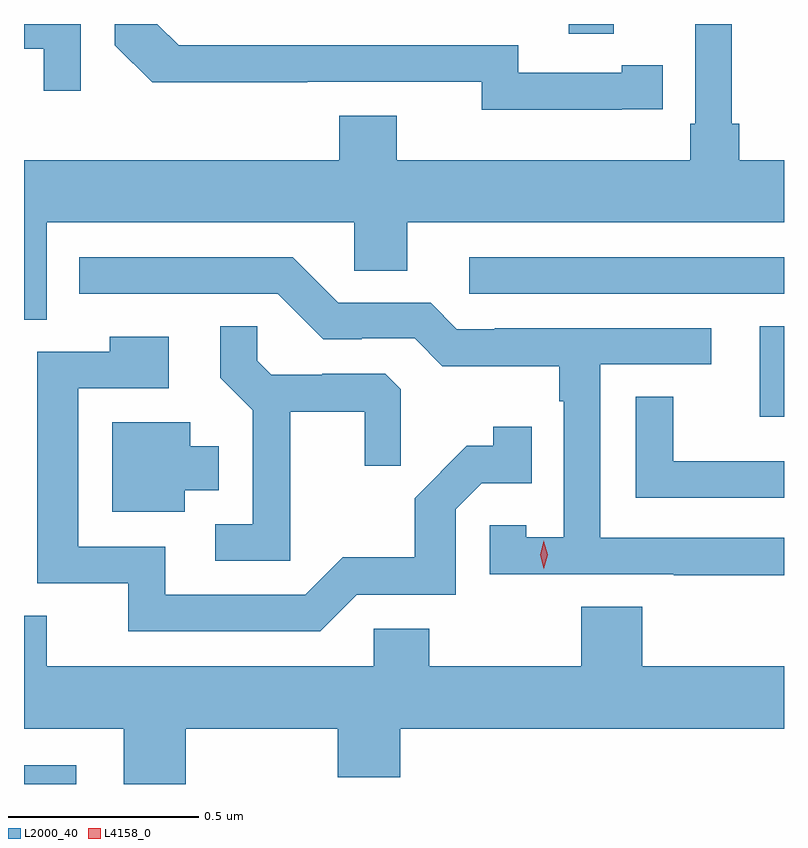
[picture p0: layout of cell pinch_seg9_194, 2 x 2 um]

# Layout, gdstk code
import gdstk
lib = gdstk.Library(unit=1e-6, precision=1e-09)
def R(c, l, rs):  # rectangles x0, y0, x1, y1
    for r in rs: c.add(gdstk.rectangle(r[:2], r[2:], *l))
def P(c, l, *ps):  # polygons
    for p in ps: c.add(gdstk.Polygon(p, *l))
L2000_40 = (2000, 40)
L4158_0 = (4158, 0)

pinch_seg9_194 = lib.new_cell('pinch_seg9_194')
R(pinch_seg9_194, L2000_40, [(633.283,1232.238,633.421,1232.287), (635.219,1233.204,635.283,1233.443), (634.455,1233.528,635.283,1233.624), (634.717,1234.212,634.835,1234.238)])
P(pinch_seg9_194, L2000_40, [(634.856,1234.014),(634.964,1234.014),(634.964,1234.13),(634.856,1234.13),(634.856,1234.11),(634.584,1234.11),(634.584,1234.182),(633.69,1234.182),(633.634,1234.238),(633.522,1234.238),(633.522,1234.182),(633.62,1234.085),(634.028,1234.085),(634.028,1234.086),(634.488,1234.086),(634.488,1234.013),(634.856,1234.013)],
  [(633.432,1234.238),(633.283,1234.238),(633.283,1234.173),(633.335,1234.173),(633.335,1234.062),(633.432,1234.062)],
  [(633.343,1233.716),(634.152,1233.716),(634.152,1233.589),(634.291,1233.589),(634.291,1233.716),(635.283,1233.716),(635.283,1233.88),(635.165,1233.88),(635.165,1233.976),(635.146,1233.976),(635.146,1234.238),(635.049,1234.238),(635.049,1233.976),(635.036,1233.976),(635.036,1233.88),(634.264,1233.88),(634.264,1233.997),(634.112,1233.997),(634.112,1233.88),(633.283,1233.88),(633.283,1233.46),(633.343,1233.46)],
  [(635.283,1232.886),(634.8,1232.886),(634.8,1233.342),(635.092,1233.342),(635.092,1233.438),(634.522,1233.438),(634.522,1233.435),(634.422,1233.435),(634.353,1233.504),(634.11,1233.504),(633.99,1233.624),(633.428,1233.624),(633.428,1233.528),(633.951,1233.528),(634.071,1233.408),(634.172,1233.408),(634.172,1233.411),(634.311,1233.411),(634.384,1233.338),(634.692,1233.338),(634.692,1233.245),(634.704,1233.245),(634.704,1232.887),(634.605,1232.887),(634.605,1232.919),(634.509,1232.919),(634.509,1232.79),(634.993,1232.79),(634.993,1232.788),(635.283,1232.788)],
  [(633.983,1233.218),(634.18,1233.218),(634.18,1233.075),(634.274,1233.075),(634.274,1233.277),(634.233,1233.318),(634.068,1233.318),(634.068,1233.315),(633.934,1233.315),(633.897,1233.352),(633.897,1233.443),(633.799,1233.443),(633.799,1233.307),(633.885,1233.221),(633.885,1232.922),(633.786,1232.922),(633.786,1232.826),(633.983,1232.826)],
  [(634.158,1232.736),(634.419,1232.736),(634.419,1232.961),(634.488,1233.03),(634.619,1233.03),(634.619,1233.178),(634.518,1233.178),(634.518,1233.128),(634.448,1233.128),(634.311,1232.99),(634.311,1232.835),(634.122,1232.835),(634.023,1232.736),(633.655,1232.736),(633.655,1232.862),(633.426,1232.862),(633.426,1233.279),(633.664,1233.279),(633.664,1233.415),(633.508,1233.415),(633.508,1233.375),(633.318,1233.375),(633.318,1232.766),(633.557,1232.766),(633.557,1232.64),(634.062,1232.64)],
  [(635.283,1233.087),(634.992,1233.087),(634.992,1233.257),(634.893,1233.257),(634.893,1232.991),(635.283,1232.991)],
  [(633.706,1233.011),(633.796,1233.011),(633.796,1233.127),(633.721,1233.127),(633.721,1233.19),(633.515,1233.19),(633.515,1232.954),(633.706,1232.954)],
  [(633.709,1232.384),(634.109,1232.384),(634.109,1232.256),(634.273,1232.256),(634.273,1232.384),(635.283,1232.384),(635.283,1232.548),(634.91,1232.548),(634.91,1232.705),(634.75,1232.705),(634.75,1232.548),(634.35,1232.548),(634.35,1232.646),(634.203,1232.646),(634.203,1232.548),(633.343,1232.548),(633.343,1232.681),(633.283,1232.681),(633.283,1232.384),(633.545,1232.384),(633.545,1232.238),(633.709,1232.238)])
P(pinch_seg9_194, L4158_0, [(634.651,1232.805),(634.651,1232.805),(634.641,1232.841),(634.651,1232.877),(634.651,1232.878),(634.651,1232.877),(634.661,1232.841),(634.651,1232.805)])

lib.write_gds('pinch_seg9_194.gds')
